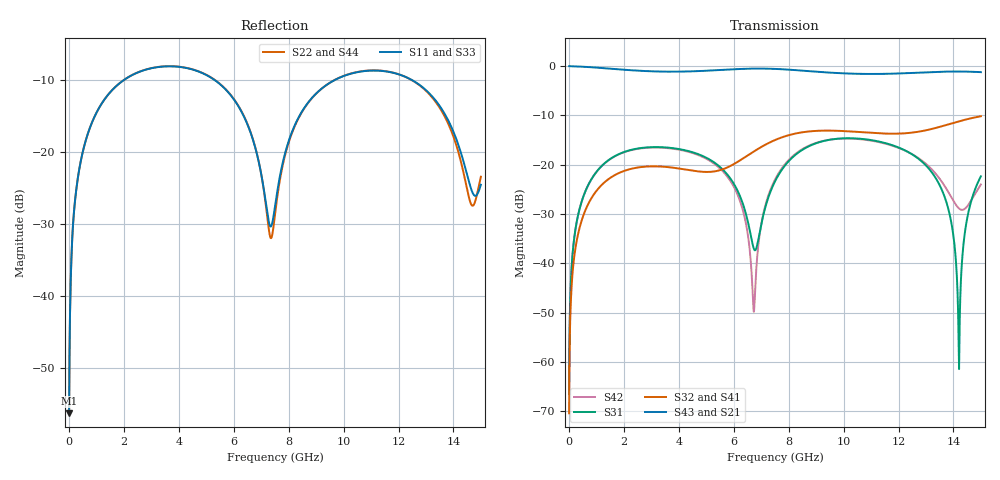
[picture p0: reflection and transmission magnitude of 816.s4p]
! Created with skrf 1.8.0 (http://scikit-rf.org).
# GHz S RI R 50.0
!freq ReS11 ImS11 ReS12 ImS12 ReS13 ImS13
! ReS14 ImS14
! ReS21 ImS21 ReS22 ImS22 ReS23 ImS23
! ReS24 ImS24
! ReS31 ImS31 ReS32 ImS32 ReS33 ImS33
! ReS34 ImS34
! ReS41 ImS41 ReS42 ImS42 ReS43 ImS43
! ReS44 ImS44
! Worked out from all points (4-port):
!   2499 points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, 5 MHz to 15 GHz, reference 50 ohm
!   strongest paths, dB at 5 MHz, 3.476 GHz, 7.19 GHz, 11.1 GHz, 15 GHz:
!     S43: 0.0, -1.1, -0.5, -1.6, -1.2
!     S21: 0.0, -1.1, -0.5, -1.6, -1.2
!     S32: -70.5, -20.4, -15.8, -13.6, -10.2
!     S41: -70.5, -20.4, -15.8, -13.5, -10.2
!     S31: -66.6, -16.5, -27.9, -15.1, -22.4
!     S42: -66.6, -16.6, -27.5, -15.2, -24.0
!   lowest |S11| = -56.2 dB at 5 MHz (marker M1), VSWR 1.00, Z = 50.1 + j0.0937 ohm
!   |S11| at or under -10 dB: start of sweep to 1.978 GHz; 5.325 GHz to 9.649 GHz (4.324 GHz wide, 57.8 % of centre); 12.52 GHz to end of sweep
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0.005  0.00123 0.000935  0.9988 -0.00239  5.98e-05 0.000466  -5.82e-05 -0.000294
       0.9988 -0.00239  0.00123 0.000935  -5.82e-05 -0.000294  5.98e-05 0.000466
       5.98e-05 0.000466  -5.82e-05 -0.000294  0.00123 0.000935  0.9988 -0.00239
       -5.82e-05 -0.000294  5.98e-05 0.000466  0.9988 -0.00239  0.00123 0.000935
2.025844  0.2623 0.1848  0.5666 -0.722  0.1214 0.0592  -0.0864 -0.00892
          0.5666 -0.722  0.2633 0.184  -0.0863 -0.00901  0.1191 0.0621
          0.1214 0.0592  -0.0863 -0.00901  0.2623 0.1847  0.5666 -0.722
          -0.0864 -0.00892  0.1191 0.0621  0.5666 -0.722  0.2632 0.184
6.727803  0.057 -0.1028  -0.8891 -0.3154  -0.0131 -0.00543  -0.0405 0.1298
          -0.8891 -0.3154  0.0523 -0.1062  -0.042 0.1293  -0.00313 -0.000757
          -0.0131 -0.00543  -0.042 0.1293  0.0558 -0.101  -0.8894 -0.3151
          -0.0405 0.1298  -0.00313 -0.000757  -0.8894 -0.3151  0.052 -0.1042
7.334306  0.0304 -0.00323  -0.9387 -0.0577  -0.00036 0.053  -0.00481 0.1692
          -0.9387 -0.0577  0.0252 -0.00516  -0.00664 0.1692  0.00827 0.0549
          -0.00036 0.053  -0.00664 0.1692  0.0298 -0.00082  -0.9388 -0.0573
          -0.00481 0.1692  0.00827 0.0549  -0.9388 -0.0573  0.0255 -0.00289
12.51772  0.2784 -0.1496  0.3814 0.7639  0.0678 -0.1065  0.1655 -0.1334
          0.3814 0.7639  0.2747 -0.1542  0.1676 -0.1295  0.062 -0.1105
          0.0678 -0.1065  0.1676 -0.1295  0.2811 -0.1489  0.3791 0.7645
          0.1655 -0.1334  0.062 -0.1105  0.3791 0.7645  0.2756 -0.1546
14.19967  0.0697 -0.0851  0.8206 0.322  0.000681 -0.000505  0.0909 -0.2598
          0.8206 0.322  0.0598 -0.0771  0.0964 -0.2577  -0.0352 -0.00758
          0.000681 -0.000505  0.0964 -0.2577  0.0724 -0.0852  0.8194 0.325
          0.0909 -0.2598  -0.0352 -0.00758  0.8194 0.325  0.0589 -0.0785
15  0.0537 0.0259  0.8685 0.00954  0.0515 0.0562  -0.0109 -0.31
    0.8685 0.00954  0.05 0.0458  -0.00439 -0.3099  -0.00451 0.0628
    0.0515 0.0562  -0.00439 -0.3099  0.0564 0.0258  0.8685 0.0132
    -0.0109 -0.31  -0.00451 0.0628  0.8685 0.0132  0.0477 0.0448
